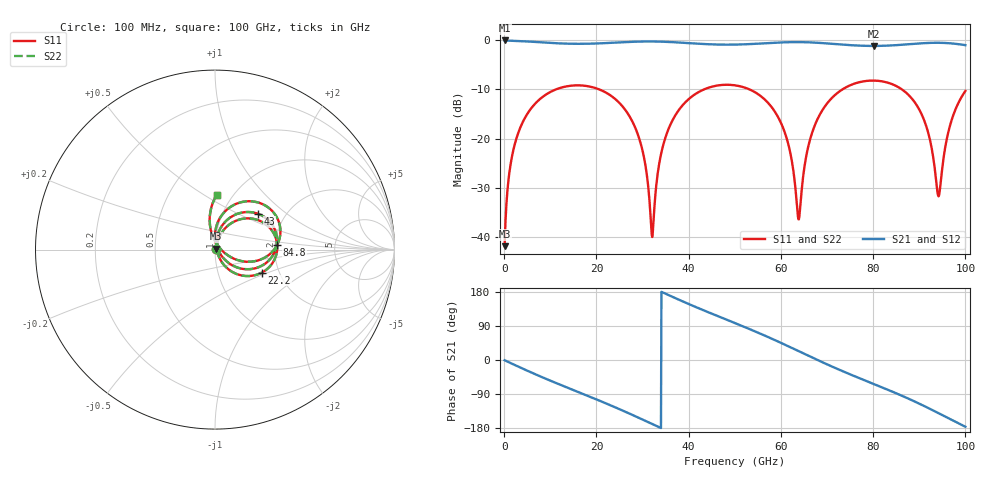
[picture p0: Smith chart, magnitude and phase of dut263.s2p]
! Touchstone file exported from HFSS 2026.1.0
!  File:  C:/ffzhzh/LocalFiles/Ansys_Project_Files/temp_train_TSV_RDL_263_1783673857_33328.aedt
!  Generated:  05:03:29 PM Jul 10, 2026
!  Design:  TSV_RDL
!  Project:  temp_train_TSV_RDL_263_1783673857_33328
! Variables:
!  h_bsmrdl = 4.37um
!  h_ox = 20um
!  h_rdl = 5um
!  h_sub = 54.89um
!  h_tmrdl = 2.84um
!  h_tsv = 54.89um
!  h_via = 3um
!  l_bsmrdl = 181.37um
!  l_sub = 1874.2um
!  l_tmrdl = 191.7um
!  m_sub = 200um
!  pitch = 45.98um
!  r_tsv = 10.3um
!  s_tmrdl = 10um
!  w_bsmrdl = 27.98um
!  w_sub = 500um
!  w_tmrdl = 26.45um
!  x_tsv_center1 = 204.925um
!  x_tsv_center2 = 414.275um
!  x_tsv_center3 = 632.425um
!  x_tsv_center4 = 841.775um
!  x_tsv_center5 = 1059.925um
!  x_tsv_center6 = 1269.275um
# GHz S MA R 50.000000
! Terminal data exported
! Port[1] = TM_RDL1_1_T1
! Port[2] = TM_RDL5_1_T1
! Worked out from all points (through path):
!   1000 points, 100 MHz to 100 GHz, reference 50 ohm
!   highest |S21| = -0.06 dB at 100 MHz (marker M1); lowest = -1.2 dB at 80.1 GHz (marker M2)
!   group delay of S21, straight-line fit = 14.7 ps
!   lowest |S11| = -41.8 dB at 100 MHz (marker M3), VSWR 1.02, Z = 50.7 + j0.448 ohm
!   |S11| at or under -10 dB: 20.61 GHz to 43.34 GHz (22.74 GHz wide, 71.1 % of centre); 53.18 GHz to 73.34 GHz (20.16 GHz wide, 31.9 % of centre); 86.23 GHz to end of sweep (the widest 3 of 4)
!   |S22| runs from -41.8 to -8.2 dB; largest |S21 - S12| = 1.7e-14
!   S11 on the Smith chart (normalised r, x): 100 MHz: 1.01, +0.01; 22.2 GHz: 1.63, -0.46; 43 GHz: 1.46, +0.64; 84.8 GHz: 2.05, +0.11; 100 GHz: 0.84, +0.57
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0.1  0.008084 33.1  0.9933 -0.6  0.9933 -0.6  0.008084 33.1
! Gamma 0 0 0 0
! Port Impedance 50 0 50 0
1.6  0.06225 71.7  0.9883 -9.2  0.9883 -9.2  0.06225 71.7
4.4  0.1589 60.6  0.9745 -24.9  0.9745 -24.9  0.1589 60.5
16.8  0.3466 -0.1  0.9184 -88.1  0.9184 -88.1  0.3466 -0.1
22.2  0.2912 -26.0  0.9346 -115.1  0.9346 -115.1  0.2912 -26.1
29  0.1099 -58.4  0.9664 -151.5  0.9664 -151.5  0.1098 -58.7
32  0.01057 -8.9  0.9697 -168.3  0.9697 -168.3  0.0101 -10.1
33.4  0.04812 80.1  0.9675 -176.2  0.9675 -176.2  0.04796 80.8
36.7  0.1597 70.6  0.9538 165.5  0.9538 165.5  0.1596 70.8
43  0.3111 40.0  0.9153 132.4  0.9153 132.4  0.311 40.1
50.1  0.3475 6.3  0.9018 97.2  0.9018 97.2  0.3474 6.4
59.6  0.1584 -39.0  0.9464 47.5  0.9464 47.5  0.1584 -38.8
63.8  0.01514 14.9  0.9557 23.6  0.9557 23.6  0.01574 15.5
66.7  0.1122 88.3  0.9478 7.0  0.9478 7.0  0.1123 88.0
71.9  0.2819 65.0  0.9122 -21.7  0.9122 -21.7  0.2819 64.9
80.1  0.3886 26.0  0.8739 -63.2  0.8739 -63.2  0.3885 26.0
83.4  0.3673 10.6  0.8815 -79.6  0.8815 -79.6  0.3672 10.6
84.8  0.3461 4.0  0.8888 -86.8  0.8888 -86.8  0.3459 4.0
90.8  0.1647 -23.2  0.9312 -119.9  0.9312 -119.9  0.1646 -23.0
94.2  0.02595 40.5  0.9407 -140.5  0.9407 -140.5  0.02649 40.8
96.7  0.1377 101.7  0.9293 -156.1  0.9293 -156.1  0.1379 101.5
100  0.3047 88.2  0.8899 -176.1  0.8899 -176.1  0.3049 88.1
